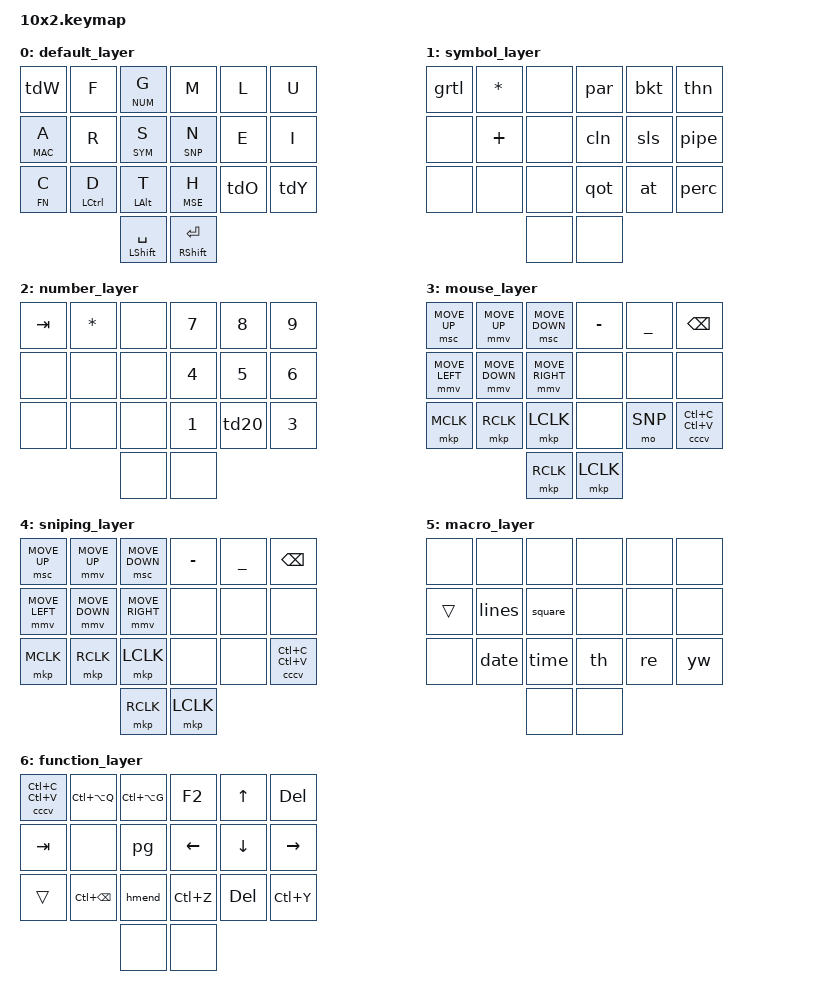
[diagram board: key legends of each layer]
/*
 * Copyright (c) 2024 miketronic
 * SPDX-License-Identifier: MIT
 * 10x2
 */
 
#include <behaviors.dtsi>
#include <input/processors.dtsi>
#include <zephyr/dt-bindings/input/input-event-codes.h>
#include <dt-bindings/zmk/keys.h>
#include <dt-bindings/zmk/outputs.h>
#include <dt-bindings/zmk/mouse.h>
#include "includes/macros.dtsi"
#include "includes/behaviors.dtsi"
#include "includes/combos_10x2.dtsi"

#define DEF         0
#define SYM         1
#define NUM         2
#define MSE         3
#define SNP         4
#define MAC         5
#define FN          6

#define SFTENT   &mt RSHIFT RET
#define SFTSPC   &mt LSHIFT SPC
#define CPST     &cccv LC(C) LC(V)
#define CLIP     &kp LC(LA(Q))
#define GSHT     &kp LC(LA(G))
#define LCTRD    &hrm LCTRL D
#define LALTT    &hrm LALT T
#define MSEH     &lt MSE H
#define SNPN     &lt SNP N
#define SNPL     &mo SNP

#define MIN   &kp MINUS
#define BSP   &kp BSPC
#define UNDR  &kp UNDER
#define NNN   &none

#define MM_U &mmv MOVE_UP
#define MM_D &mmv MOVE_DOWN
#define MM_R &mmv MOVE_RIGHT
#define MM_L &mmv MOVE_LEFT

#define MS_U &msc MOVE_UP
#define MS_D &msc MOVE_DOWN
#define MS_R &msc MOVE_RIGHT
#define MS_L &msc MOVE_LEFT

#define MCK  &mkp MCLK  
#define RCK  &mkp RCLK  
#define LCK  &mkp LCLK 


&mt {
    tapping-term-ms = <160>;
};

&lt {
    tapping-term-ms = <150>;
};

&mmv_input_listener {
        standard {
            layers = <MSE>;
            input-processors = <&zip_xy_scaler 2 1>;
        };
        snipe {
            layers = <SNP>;
            input-processors = <&zip_xy_scaler 1 4>;
        };
};

/ {


    keymap {
        compatible = "zmk,keymap";

        default_layer {
            bindings = <
                &tdW         &kp F   &lt NUM G          &kp M       &kp L   &kp U
                &lt MAC A    &kp R   &lt SYM S          SNPN       &kp E   &kp I
                &lt FN C     LCTRD   LALTT              MSEH       &tdO    &tdY
                                     &mt LSHIFT SPC     &mt RSHIFT RET
            >;
        };

        symbol_layer {
            bindings = <
                &grtl &kp STAR NNN        &par &bkt &thn
                NNN   &kp PLUS NNN        &cln &sls &pipe
                NNN   NNN      NNN        &qot &at &perc 
                               NNN        NNN
            >;
        };

        number_layer {
            bindings = <
                &kp TAB &kp STAR  NNN        &kp N7   &kp N8   &kp N9
                NNN  NNN   NNN               &kp N4   &kp N5   &kp N6
                NNN  NNN   NNN               &kp N1   &td20    &kp N3
                NNN  NNN    
            >;
        };

        mouse_layer {
            bindings = <
                MS_U    MM_U    MS_D    MIN    UNDR  BSP
                MM_L    MM_D    MM_R    NNN    NNN   NNN
                MCK     RCK     LCK     NNN    SNPL  CPST
                RCK     LCK
            >;
        };

        sniping_layer {
            bindings = <
                MS_U    MM_U    MS_D    MIN    UNDR  BSP
                MM_L    MM_D    MM_R    NNN    NNN   NNN
                MCK     RCK     LCK     NNN    NNN   CPST
                RCK     LCK
            >;
        };

        macro_layer {
            bindings = <
                NNN     NNN     NNN      NNN NNN NNN
                &trans  &lines  &square  NNN NNN NNN
                NNN     &date   &time    &th &re &yw
                NNN     NNN
            >;
        };

        function_layer {  
            bindings = <
                CPST       CLIP         GSHT     &kp F2       &kp UP      &kp DEL
                &kp TAB    NNN          &pg      &kp LEFT     &kp DOWN    &kp RIGHT
                &trans     &kp LC(BSPC) &hmend   &kp LC(Z)    &kp DEL     &kp LC(Y)
                NNN        NNN
            >;
        };
    };
};
